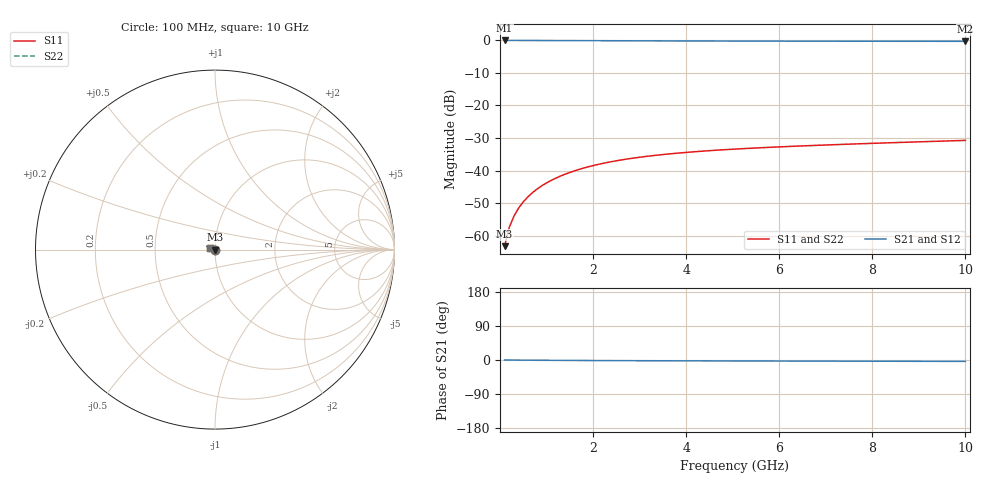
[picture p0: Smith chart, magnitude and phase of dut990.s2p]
! Touchstone file exported from HFSS 2024.1.0
!  File:  C:/UserFiles/LocalFiles/RDL_TSV_Batchsim/temp_TSV1_990_1779952724.aedt
!  Generated:  03:23:53 PM May 28, 2026
!  Design:  TSV1
!  Project:  temp_TSV1_990_1779952724
!  Setup:  Setup1
!  Solution:  Sweep
! Variables:
!  dtsv = 7.85um
!  hbump = 3um
!  htsv = 54.17um
!  lrdl = 252.1521522um
!  p = 40
!  p1 = 47.71um
!  t = 500um
!  trdl = 3um
!  wrdl = 24.89489489um
# GHz S MA R 50.000000
! Terminal data exported
! Port[1] = TSV22_T1
! Port[2] = TSV22_T2
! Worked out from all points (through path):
!   100 points, 100 MHz to 10 GHz, reference 50 ohm
!   highest |S21| = 0.00 dB at 100 MHz (marker M1); lowest = -0.3 dB at 10 GHz (marker M2)
!   lowest |S11| = -63.3 dB at 100 MHz (marker M3), VSWR 1.00, Z = 50 - j0.0667 ohm
!   |S11| at or under -10 dB: start of sweep to end of sweep
!   |S22| runs from -63.3 to -30.7 dB; largest |S21 - S12| = 1.1e-15
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0.1  0.0006866 -76.1  0.9998 -0.1  0.9998 -0.1  0.0006866 -76.1
! Gamma 0 0 0 0
! Port Impedance 50 0 50 0
0.2  0.001333 -85.9  0.9997 -0.2  0.9997 -0.2  0.001333 -85.9
0.3  0.001986 -90.6  0.9996 -0.2  0.9996 -0.2  0.001986 -90.6
0.4  0.002639 -94.0  0.9994 -0.3  0.9994 -0.3  0.002639 -94.0
0.5  0.003288 -96.7  0.9992 -0.4  0.9992 -0.4  0.003288 -96.7
0.6  0.003933 -99.2  0.9989 -0.5  0.9989 -0.5  0.003933 -99.2
0.7  0.004572 -101.6  0.9986 -0.6  0.9986 -0.6  0.004572 -101.6
0.8  0.005204 -103.8  0.9983 -0.6  0.9983 -0.6  0.005204 -103.8
0.9  0.005827 -105.9  0.9979 -0.7  0.9979 -0.7  0.005827 -105.9
1.1  0.007044 -109.9  0.9971 -0.9  0.9971 -0.9  0.007044 -109.9
1.4  0.008781 -115.6  0.9956 -1.1  0.9956 -1.1  0.008781 -115.6
1.6  0.009874 -119.1  0.9946 -1.2  0.9946 -1.2  0.009874 -119.1
1.8  0.01091 -122.6  0.9935 -1.3  0.9935 -1.3  0.01091 -122.6
2.1  0.01236 -127.5  0.9919 -1.5  0.9919 -1.5  0.01236 -127.5
2.5  0.0141 -133.7  0.9896 -1.6  0.9896 -1.6  0.0141 -133.7
2.9  0.01564 -139.3  0.9875 -1.8  0.9875 -1.8  0.01564 -139.3
3.4  0.0173 -145.8  0.985 -2.0  0.985 -2.0  0.0173 -145.8
4.2  0.01948 -155.0  0.9815 -2.2  0.9815 -2.2  0.01948 -155.0
5.1  0.02145 -163.9  0.9784 -2.5  0.9784 -2.5  0.02145 -163.9
6.7  0.02422 -176.7  0.9744 -2.9  0.9744 -2.9  0.02422 -176.7
8.4  0.02674 172.4  0.9716 -3.3  0.9716 -3.3  0.02674 172.4
10  0.02905 163.8  0.9698 -3.7  0.9698 -3.7  0.02905 163.8
